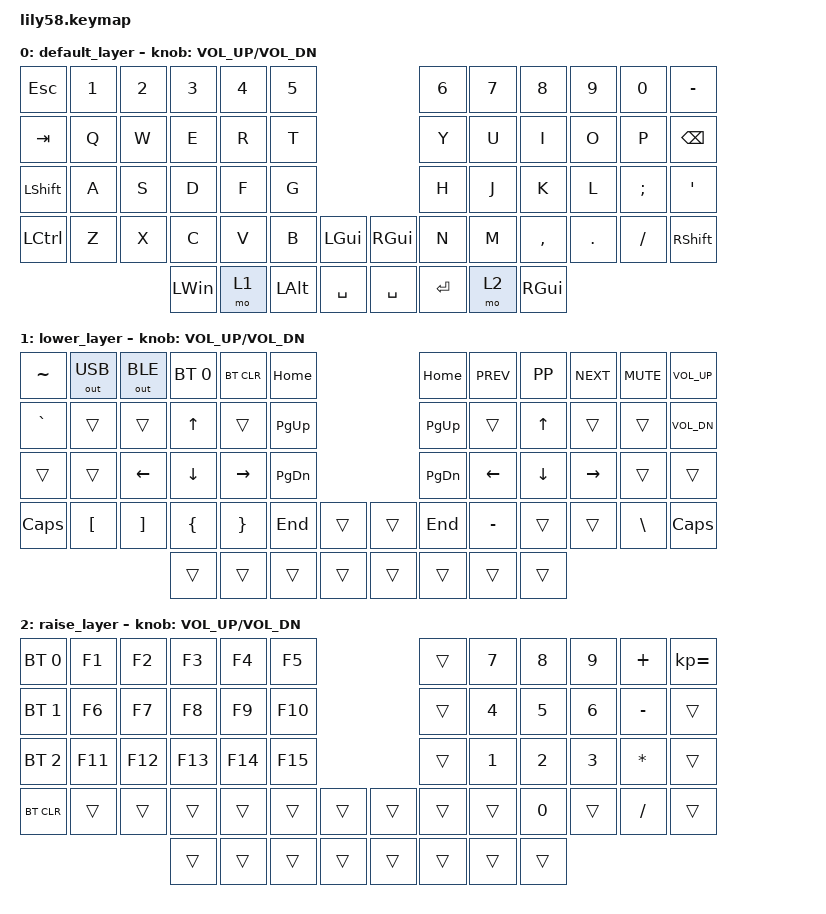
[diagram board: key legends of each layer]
/*
 * Copyright (c) 2020 The ZMK Contributors
 *
 * SPDX-License-Identifier: MIT
 */

#include <behaviors.dtsi>
#include <dt-bindings/zmk/bt.h>
#include <dt-bindings/zmk/keys.h>
#include <dt-bindings/zmk/outputs.h>

/ {
    keymap {
        compatible = "zmk,keymap";

        default_layer {
            // ------------------------------------------------------------------------------------------------------------
            // |  ESC  |  1  |  2  |  3   |  4   |  5   |                   |  6   |  7    |  8    |  9   |   0   |   =   |
            // |  TAB  |  Q  |  W  |  E   |  R   |  T   |                   |  Y   |  U    |  I    |  O   |   P   |   -   |
            // | ENTER |  A  |  S  |  D   |  F   |  G   |                   |  H   |  J    |  K    |  L   |   ;   | ENTER |
            // | SHIFT |  Z  |  X  |  C   |  V   |  B   |   GUI  |  |  GUI  |  N   |  M    |  ,    |  .   |   /   | SHIFT |
            //                     | CTRL | ALT  |LOWER |  SPACE |  | SPACE | RAISE| BSPC  | GUI   |

            bindings = <
&kp ESC     &kp N1  &kp N2  &kp N3        &kp N4  &kp N5                            &kp N6     &kp N7  &kp N8     &kp N9   &kp N0    &kp MINUS
&kp TAB     &kp Q   &kp W   &kp E         &kp R   &kp T                             &kp Y      &kp U   &kp I      &kp O    &kp P     &kp BACKSPACE
&kp LSHIFT  &kp A   &kp S   &kp D         &kp F   &kp G                             &kp H      &kp J   &kp K      &kp L    &kp SEMI  &kp APOS
&kp LCTRL   &kp Z   &kp X   &kp C         &kp V   &kp B     &kp LGUI     &kp RGUI   &kp N      &kp M   &kp COMMA  &kp DOT  &kp FSLH  &kp RSHFT
                            &kp LEFT_WIN  &mo 1   &kp LALT  &kp SPACE    &kp SPACE  &kp ENTER  &mo 2   &kp RGUI
            >;

            sensor-bindings = <&inc_dec_kp C_VOL_UP C_VOL_DN>;
        };

        lower_layer {
            // ------------------------------------------------------------------------------------------------------------
            // |  ~    | USB | BLE | BT0  | BTCLR| HOME |                   | HOME | PREV  |PauPly | NEXT | MUTE  | VOL UP|
            // |  `    |     |     |  UP  |      | PGUP |                   | PGUP |       |  UP   |      |       | VOL DN|
            // |       |     |LEFT | DOWN | RIGHT| PGDN |                   | PGDN | LEFT  | DOWN  | RIGHT|       |       |
            // |  CAPS | "[" | "]" |   {  |  }   |  END |        |  |       |  END |   |   |  ;    |  :   |   \   | CAPS  |
            //                     |      |      |      |        |  |       |      |       |       |

            bindings = <
&kp TILDE  &out OUT_USB  &out OUT_BLE  &bt BT_SEL 0  &bt BT_CLR  &kp HOME                     &kp HOME   &kp K_PREV  &kp K_PP  &kp K_NEXT  &kp K_MUTE  &kp K_VOL_UP
&kp GRAVE  &trans        &trans        &kp UP        &trans      &kp PG_UP                    &kp PG_UP  &trans      &kp UP    &trans      &trans      &kp K_VOL_DN
&trans     &trans        &kp LEFT      &kp DOWN      &kp RIGHT   &kp PG_DN                    &kp PG_DN  &kp LEFT    &kp DOWN  &kp RIGHT   &trans      &trans
&kp CAPS   &kp LBKT      &kp RBKT      &kp LBRC      &kp RBRC    &kp END    &trans    &trans  &kp END    &kp MINUS   &trans    &trans      &kp BSLH    &kp CAPS
                                       &trans        &trans      &trans     &trans    &trans  &trans     &trans      &trans
            >;

            sensor-bindings = <&inc_dec_kp C_VOL_UP C_VOL_DN>;
        };

        raise_layer {
            // ------------------------------------------------------------------------------------------------------------
            // | BT_SEL0  |  F1 |  F2 |  F3  |  F4  |  F5  |                   |      |   7   |   8   |  9   |   +   |       |
            // | BT_SEL1  |  F6 |  F7 |  F8  |  F9  |  F10 |                   |      |   4   |   5   |  6   |   -   |       |
            // | BT_SEL2  |  F11|  F12|  F13 |  F14 |  F15 |                   |      |   1   |   2   |  3   |   *   |       |
            // | BT_CLR   |     |     |      |      | PSCRN|        |          |      |       |   0   |      |   /   |       |
            //            |     |     |      |      |      |        |          |      |       |       |

            bindings = <
&bt BT_SEL 0  &kp F1   &kp F2   &kp F3   &kp F4   &kp F5                     &trans  &kp N7  &kp N8  &kp N9  &kp PLUS      &kp KP_EQUAL
&bt BT_SEL 1  &kp F6   &kp F7   &kp F8   &kp F9   &kp F10                    &trans  &kp N4  &kp N5  &kp N6  &kp MINUS     &trans
&bt BT_SEL 2  &kp F11  &kp F12  &kp F13  &kp F14  &kp F15                    &trans  &kp N1  &kp N2  &kp N3  &kp ASTERISK  &trans
&bt BT_CLR    &trans   &trans   &trans   &trans   &trans   &trans    &trans  &trans  &trans  &kp N0  &trans  &kp FSLH      &trans
                                &trans   &trans   &trans   &trans    &trans  &trans  &trans  &trans
            >;

            sensor-bindings = <&inc_dec_kp C_VOL_UP C_VOL_DN>;
        };
    };
};
